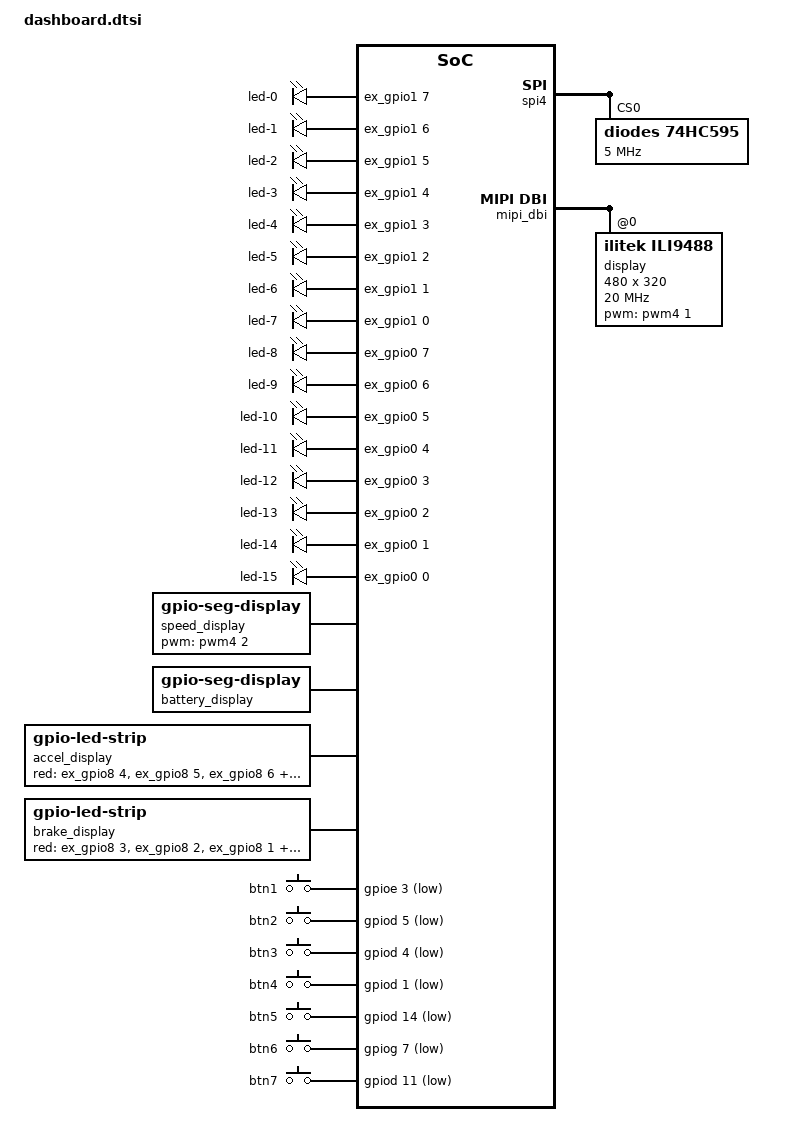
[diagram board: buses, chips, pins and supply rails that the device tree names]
#include <zephyr/dt-bindings/gpio/gpio.h>
#include <zephyr/dt-bindings/input/input-event-codes.h>
#include <zephyr/dt-bindings/led/led.h>
#include <zephyr/dt-bindings/display/ili9xxx.h>
#include <freq.h>

/ {
    chosen {
        zephyr,display = &display;

        nturt,leds = &leds;
        nturt,speed-display = &speed_display;
        nturt,battery-display = &battery_display;
        nturt,accel-display = &accel_display;
        nturt,brake-display = &brake_display;
    };

    leds: leds {
        compatible = "gpio-leds";

        led-0 {
            gpios = <&ex_gpio1 7 GPIO_ACTIVE_HIGH>;
        };

        led-1 {
            gpios = <&ex_gpio1 6 GPIO_ACTIVE_HIGH>;
        };

        led-2 {
            gpios = <&ex_gpio1 5 GPIO_ACTIVE_HIGH>;
        };

        led-3 {
            gpios = <&ex_gpio1 4 GPIO_ACTIVE_HIGH>;
        };

        led-4 {
            gpios = <&ex_gpio1 3 GPIO_ACTIVE_HIGH>;
        };

        led-5 {
            gpios = <&ex_gpio1 2 GPIO_ACTIVE_HIGH>;
        };

        led-6 {
            gpios = <&ex_gpio1 1 GPIO_ACTIVE_HIGH>;
        };

        led-7 {
            gpios = <&ex_gpio1 0 GPIO_ACTIVE_HIGH>;
        };

        led-8 {
            gpios = <&ex_gpio0 7 GPIO_ACTIVE_HIGH>;
        };

        led-9 {
            gpios = <&ex_gpio0 6 GPIO_ACTIVE_HIGH>;
        };

        led-10 {
            gpios = <&ex_gpio0 5 GPIO_ACTIVE_HIGH>;
        };

        led-11 {
            gpios = <&ex_gpio0 4 GPIO_ACTIVE_HIGH>;
        };

        led-12 {
            gpios = <&ex_gpio0 3 GPIO_ACTIVE_HIGH>;
        };

        led-13 {
            gpios = <&ex_gpio0 2 GPIO_ACTIVE_HIGH>;
        };

        led-14 {
            gpios = <&ex_gpio0 1 GPIO_ACTIVE_HIGH>;
        };

        led-15 {
            gpios = <&ex_gpio0 0 GPIO_ACTIVE_HIGH>;
        };
    };

    speed_display: gpio-seg-display-speed {
        compatible = "gpio-seg-display";
        pwms = <&pwm4 2 PWM_MSEC(1) PWM_POLARITY_INVERTED>;
        columns = <2>;
        rows = <1>;
        decimal-point;
        #address-cells = <1>;
        #size-cells = <0>;

        seg-display@0 {
            reg = <0>;
            segment-gpios = <&ex_gpio5 0 GPIO_ACTIVE_HIGH>,
                            <&ex_gpio5 1 GPIO_ACTIVE_HIGH>,
                            <&ex_gpio5 2 GPIO_ACTIVE_HIGH>,
                            <&ex_gpio5 3 GPIO_ACTIVE_HIGH>,
                            <&ex_gpio5 4 GPIO_ACTIVE_HIGH>,
                            <&ex_gpio5 5 GPIO_ACTIVE_HIGH>,
                            <&ex_gpio5 6 GPIO_ACTIVE_HIGH>,
                            <&ex_gpio5 7 GPIO_ACTIVE_HIGH>;
        };

        seg-display@1 {
            reg = <1>;
            segment-gpios = <&ex_gpio4 0 GPIO_ACTIVE_HIGH>,
                            <&ex_gpio4 1 GPIO_ACTIVE_HIGH>,
                            <&ex_gpio4 2 GPIO_ACTIVE_HIGH>,
                            <&ex_gpio4 3 GPIO_ACTIVE_HIGH>,
                            <&ex_gpio4 4 GPIO_ACTIVE_HIGH>,
                            <&ex_gpio4 5 GPIO_ACTIVE_HIGH>,
                            <&ex_gpio4 6 GPIO_ACTIVE_HIGH>,
                            <&ex_gpio4 7 GPIO_ACTIVE_HIGH>;
        };
    };

    battery_display: gpio-seg-display-battery {
        compatible = "gpio-seg-display";
        columns = <2>;
        rows = <1>;
        decimal-point;
        #address-cells = <1>;
        #size-cells = <0>;

        seg-display@0 {
            reg = <0>;
            segment-gpios = <&ex_gpio3 0 GPIO_ACTIVE_HIGH>,
                            <&ex_gpio3 1 GPIO_ACTIVE_HIGH>,
                            <&ex_gpio3 2 GPIO_ACTIVE_HIGH>,
                            <&ex_gpio3 3 GPIO_ACTIVE_HIGH>,
                            <&ex_gpio3 4 GPIO_ACTIVE_HIGH>,
                            <&ex_gpio3 5 GPIO_ACTIVE_HIGH>,
                            <&ex_gpio3 6 GPIO_ACTIVE_HIGH>,
                            <&ex_gpio3 7 GPIO_ACTIVE_HIGH>;
        };

        seg-display@1 {
            reg = <1>;
            segment-gpios = <&ex_gpio2 0 GPIO_ACTIVE_HIGH>,
                            <&ex_gpio2 1 GPIO_ACTIVE_HIGH>,
                            <&ex_gpio2 2 GPIO_ACTIVE_HIGH>,
                            <&ex_gpio2 3 GPIO_ACTIVE_HIGH>,
                            <&ex_gpio2 4 GPIO_ACTIVE_HIGH>,
                            <&ex_gpio2 5 GPIO_ACTIVE_HIGH>,
                            <&ex_gpio2 6 GPIO_ACTIVE_HIGH>,
                            <&ex_gpio2 7 GPIO_ACTIVE_HIGH>;
        };
    };

    accel_display: gpio-led-strip-accel {
        compatible = "gpio-led-strip";
        chain-length = <20>;
        color-mapping = <LED_COLOR_ID_RED>;
        red-gpios = <&ex_gpio8 4 GPIO_ACTIVE_HIGH>,
                    <&ex_gpio8 5 GPIO_ACTIVE_HIGH>,
                    <&ex_gpio8 6 GPIO_ACTIVE_HIGH>,
                    <&ex_gpio8 7 GPIO_ACTIVE_HIGH>,
                    <&ex_gpio9 0 GPIO_ACTIVE_HIGH>,
                    <&ex_gpio9 1 GPIO_ACTIVE_HIGH>,
                    <&ex_gpio9 2 GPIO_ACTIVE_HIGH>,
                    <&ex_gpio9 3 GPIO_ACTIVE_HIGH>,
                    <&ex_gpio9 4 GPIO_ACTIVE_HIGH>,
                    <&ex_gpio9 5 GPIO_ACTIVE_HIGH>,
                    <&ex_gpio9 6 GPIO_ACTIVE_HIGH>,
                    <&ex_gpio9 7 GPIO_ACTIVE_HIGH>,
                    <&ex_gpio10 0 GPIO_ACTIVE_HIGH>,
                    <&ex_gpio10 1 GPIO_ACTIVE_HIGH>,
                    <&ex_gpio10 2 GPIO_ACTIVE_HIGH>,
                    <&ex_gpio10 3 GPIO_ACTIVE_HIGH>,
                    <&ex_gpio10 4 GPIO_ACTIVE_HIGH>,
                    <&ex_gpio10 5 GPIO_ACTIVE_HIGH>,
                    <&ex_gpio10 6 GPIO_ACTIVE_HIGH>,
                    <&ex_gpio10 7 GPIO_ACTIVE_HIGH>;
    };

    brake_display: gpio-led-strip-brake {
        compatible = "gpio-led-strip";
        chain-length = <20>;
        color-mapping = <LED_COLOR_ID_RED>;
        red-gpios = <&ex_gpio8 3 GPIO_ACTIVE_HIGH>,
                    <&ex_gpio8 2 GPIO_ACTIVE_HIGH>,
                    <&ex_gpio8 1 GPIO_ACTIVE_HIGH>,
                    <&ex_gpio8 0 GPIO_ACTIVE_HIGH>,
                    <&ex_gpio7 7 GPIO_ACTIVE_HIGH>,
                    <&ex_gpio7 6 GPIO_ACTIVE_HIGH>,
                    <&ex_gpio7 5 GPIO_ACTIVE_HIGH>,
                    <&ex_gpio7 4 GPIO_ACTIVE_HIGH>,
                    <&ex_gpio7 3 GPIO_ACTIVE_HIGH>,
                    <&ex_gpio7 2 GPIO_ACTIVE_HIGH>,
                    <&ex_gpio7 1 GPIO_ACTIVE_HIGH>,
                    <&ex_gpio7 0 GPIO_ACTIVE_HIGH>,
                    <&ex_gpio6 7 GPIO_ACTIVE_HIGH>,
                    <&ex_gpio6 6 GPIO_ACTIVE_HIGH>,
                    <&ex_gpio6 5 GPIO_ACTIVE_HIGH>,
                    <&ex_gpio6 4 GPIO_ACTIVE_HIGH>,
                    <&ex_gpio6 3 GPIO_ACTIVE_HIGH>,
                    <&ex_gpio6 2 GPIO_ACTIVE_HIGH>,
                    <&ex_gpio6 1 GPIO_ACTIVE_HIGH>,
                    <&ex_gpio6 0 GPIO_ACTIVE_HIGH>;
    };

    buttons: buttons {
        compatible = "gpio-keys";
        debounce-interval-ms = <20>;

        btn1: btn-1 {
            gpios = <&gpioe 3 (GPIO_ACTIVE_LOW | GPIO_PULL_UP)>;
            zephyr,code = <INPUT_BTN_1>;
        };

        btn2: btn-2 {
            gpios = <&gpiod 5 (GPIO_ACTIVE_LOW | GPIO_PULL_UP)>;
            zephyr,code = <INPUT_BTN_2>;
        };

        btn3: btn-3 {
            gpios = <&gpiod 4 (GPIO_ACTIVE_LOW | GPIO_PULL_UP)>;
            zephyr,code = <INPUT_BTN_3>;
        };

        btn4: btn-4 {
            gpios = <&gpiod 1 (GPIO_ACTIVE_LOW | GPIO_PULL_UP)>;
            zephyr,code = <INPUT_BTN_4>;
        };

        btn5: btn-5 {
            gpios = <&gpiod 14 (GPIO_ACTIVE_LOW | GPIO_PULL_UP)>;
            zephyr,code = <INPUT_BTN_5>;
        };

        btn6: btn-6 {
            gpios = <&gpiog 7 (GPIO_ACTIVE_LOW | GPIO_PULL_UP)>;
            zephyr,code = <INPUT_BTN_6>;
        };

        btn7: btn-7 {
            gpios = <&gpiod 11 (GPIO_ACTIVE_LOW | GPIO_PULL_UP)>;
            zephyr,code = <INPUT_BTN_7>;
        };
    };
};

&i2c2 {

};

&spi4 {
    74hc595@0 {
        compatible = "diodes,74hc595";
        reg = <0>;
        spi-max-frequency = <DT_FREQ_M(5)>;
        #address-cells = <1>;
        #size-cells = <0>;

        ex_gpio0: ex-gpio@0 {
            reg = <0>;
            gpio-controller;
            ngpios = <8>;
            #gpio-cells = <2>;
        };

        ex_gpio1: ex-gpio@1 {
            reg = <1>;
            gpio-controller;
            ngpios = <8>;
            #gpio-cells = <2>;
        };

        ex_gpio2: ex-gpio@2 {
            reg = <2>;
            gpio-controller;
            ngpios = <8>;
            #gpio-cells = <2>;
        };

        ex_gpio3: ex-gpio@3 {
            reg = <3>;
            gpio-controller;
            ngpios = <8>;
            #gpio-cells = <2>;
        };

        ex_gpio4: ex-gpio@4 {
            reg = <4>;
            gpio-controller;
            ngpios = <8>;
            #gpio-cells = <2>;
        };

        ex_gpio5: ex-gpio@5 {
            reg = <5>;
            gpio-controller;
            ngpios = <8>;
            #gpio-cells = <2>;
        };

        ex_gpio6: ex-gpio@6 {
            reg = <6>;
            gpio-controller;
            ngpios = <8>;
            #gpio-cells = <2>;
        };

        ex_gpio7: ex-gpio@7 {
            reg = <7>;
            gpio-controller;
            ngpios = <8>;
            #gpio-cells = <2>;
        };

        ex_gpio8: ex-gpio@8 {
            reg = <8>;
            gpio-controller;
            ngpios = <8>;
            #gpio-cells = <2>;
        };

        ex_gpio9: ex-gpio@9 {
            reg = <9>;
            gpio-controller;
            ngpios = <8>;
            #gpio-cells = <2>;
        };

        ex_gpio10: ex-gpio@a {
            reg = <10>;
            gpio-controller;
            ngpios = <8>;
            #gpio-cells = <2>;
        };
    };
};

&spi6 {

};

&mipi_dbi {
    display: ili9488@0 {
        compatible = "ilitek,ili9488";
        reg = <0>;
        mipi-max-frequency = <DT_FREQ_M(20)>;
        pwms = <&pwm4 1 PWM_MSEC(1) PWM_POLARITY_NORMAL>;
        pixel-format = <ILI9XXX_PIXEL_FORMAT_RGB565>;
        width = <480>;
        height = <320>;
    };
};
